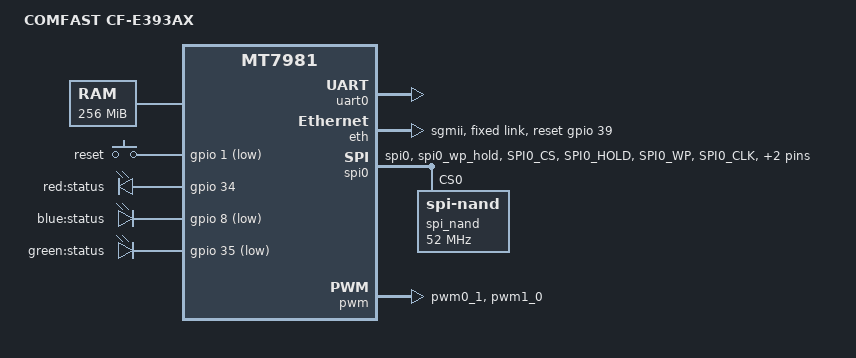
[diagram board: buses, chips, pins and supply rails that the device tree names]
// SPDX-License-Identifier: GPL-2.0

/dts-v1/;
#include "mt7981.dtsi"
#include <dt-bindings/gpio/gpio.h>

/ {
	#address-cells = <1>;
	#size-cells = <1>;
	model = "COMFAST CF-E393AX";
	compatible = "mediatek,mt7981", "mediatek,mt7981-rfb";

	chosen {
		stdout-path = &uart0;
		tick-timer = &timer0;
	};

	memory@40000000 {
		device_type = "memory";
		reg = <0x40000000 0x10000000>; // 256mb
	};

	config {
		bootcmd = "mtkboardboot";
		blink_led = "red:status";
		system_led = "blue:status";
	};

	gpio-keys {
		compatible = "gpio-keys";

		button-reset {
			label = "reset";
			gpios = <&gpio 1 GPIO_ACTIVE_LOW>;
		};
	};

	leds {
		compatible = "gpio-leds";

		status_red_led: led-0 {
			label = "red:status";
			gpios = <&gpio 34 GPIO_ACTIVE_HIGH>;
		};

		status_blue_led: led-1 {
			label = "blue:status";
			gpios = <&gpio 8 GPIO_ACTIVE_LOW>;
		};

		status_green_led: led-3 {
			label = "green:status";
			gpios = <&gpio 35 GPIO_ACTIVE_LOW>;
		};
	};
};

&uart0 {
	status = "okay";
};

&uart1 {
	pinctrl-names = "default";
	pinctrl-0 = <&uart1_pins>;
	status = "disabled";
};

&eth {
	status = "okay";
	mediatek,gmac-id = <0>;
	phy-mode = "sgmii";
	mediatek,switch = "mt7531";
	reset-gpios = <&gpio 39 GPIO_ACTIVE_HIGH>;

	fixed-link {
		speed = <1000>;
		full-duplex;
	};
};

&pinctrl {
	spi_flash_pins: spi0-pins-func-1 {
		mux {
			function = "flash";
			groups = "spi0", "spi0_wp_hold";
		};

		conf-pu {
			pins = "SPI0_CS", "SPI0_HOLD", "SPI0_WP";
			drive-strength = <MTK_DRIVE_8mA>;
			bias-pull-up = <MTK_PUPD_SET_R1R0_11>;
		};

		conf-pd {
			pins = "SPI0_CLK", "SPI0_MOSI", "SPI0_MISO";
			drive-strength = <MTK_DRIVE_8mA>;
			bias-pull-down = <MTK_PUPD_SET_R1R0_11>;
		};
	};

	spic_pins: spi1-pins-func-1 {
		mux {
			function = "spi";
			groups = "spi1_1";
		};
	};

	uart1_pins: spi1-pins-func-3 {
		mux {
			function = "uart";
			groups = "uart1_2";
		};
	};

	/* pin15 as pwm0 */
	one_pwm_pins: one-pwm-pins {
		mux {
			function = "pwm";
			groups = "pwm0_1";
		};
	};

	/* pin15 as pwm0 and pin14 as pwm1 */
	two_pwm_pins: two-pwm-pins {
		mux {
			function = "pwm";
			groups = "pwm0_1", "pwm1_0";
		};
	};

	/* pin15 as pwm0, pin14 as pwm1, pin7 as pwm2 */
	three_pwm_pins: three-pwm-pins {
		mux {
			function = "pwm";
			groups = "pwm0_1", "pwm1_0", "pwm2";
		};
	};
};

&spi0 {
	#address-cells = <1>;
	#size-cells = <0>;
	pinctrl-names = "default";
	pinctrl-0 = <&spi_flash_pins>;
	status = "okay";
	must_tx;
	enhance_timing;
	dma_ext;
	ipm_design;
	support_quad;
	tick_dly = <2>;
	sample_sel = <0>;

	spi_nand@0 {
		compatible = "spi-nand";
		reg = <0>;
		spi-max-frequency = <52000000>;
	};
};

&pwm {
	pinctrl-names = "default";
	pinctrl-0 = <&two_pwm_pins>;
	status = "okay";
};

&watchdog {
	status = "disabled";
};
